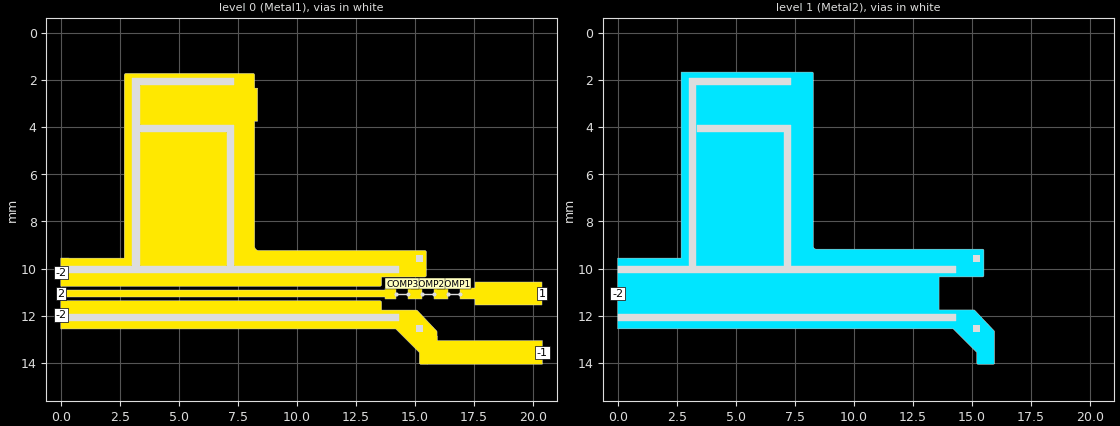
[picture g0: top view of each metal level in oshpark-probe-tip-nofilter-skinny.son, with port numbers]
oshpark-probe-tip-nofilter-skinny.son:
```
FTYP SONPROJ 18 ! Sonnet Project File
VER 17.56
HEADER
LIC antikernel2.1.50170 3cfdfeabd719 havequick azonenberg Level3Gold
DAT 02/22/2021 15:20:52
BUILT_BY_CREATED dxf 17.52.2 05/01/2020 05:35:06
BUILT_BY_SAVED sonnet 17.56
MDATE 02/22/2021 14:50:59
HDATE 02/22/2021 14:50:59
ANN Created by dxfgeo, Sonnet Software Inc.
END HEADER
DIM
ANG DEG
CAP PF
CON /OH
FREQ GHZ
IND NH
LNG MM
RES OH
END DIM
CONTROL
VARSWP
OPTIONS  -dj
SPEED 1
CACHE_ABS 1
Q_ACC N
END CONTROL
GEO
TMET "Free Space" 0 FREESPACE 376.7303136 0 0 0
BMET "Free Space" 0 FREESPACE 376.7303136 0 0 0
MET "Copper 1oz thick" 2 TMM 58000000 0.5 0.035 2
MET "Nickel " 3 TMM 14300000 0.5 3.5e-05 2
MET "Copper 0.5oz" 1 NOR 58000000 0.5 0.0175 
MET "Unknown_metal" 1 NOR INF 0.5 0 
MET "Unknown_metal" 1 VOL INF 0
BRI "Alumina (96%)" 0 9.4 0.0004 0 
BRI "Alumina (99.5%)" 0 9.9 0.0001 0 
BRI "Aluminum Nitride" 0 8.6 0.0003 0 
BRI "Arlon 25FR" 0 3.58 0.0035 0 
BRI "Arlon 25N" 0 3.38 0.0025 0 
BRI "Arlon AD5" 0 5.1 0.003 0 
BRI "Arlon AD10" 0 10.2 0.005 0 
BRI "Arlon AD250" 0 2.5 0.0018 0 
BRI "Arlon AD255A" 0 2.55 0.0015 0 
BRI "Arlon AD260A" 0 2.6 0.0018 0 
BRI "Arlon AD270" 0 2.7 0.0023 0 
BRI "Arlon AD300A" 0 3 0.002 0 
BRI "Arlon AD320A" 0 3.2 0.0032 0 
BRI "Arlon AD350A" 0 3.5 0.003 0 
BRI "Arlon AD410" 0 4.1 0.003 0 
BRI "Arlon AD430" 0 4.3 0.003 0 
BRI "Arlon AD450" 0 4.5 0.0035 0 
BRI "Arlon AD600" 0 6.15 0.003 0 
BRI "Arlon AD1000" 0 10.2 0.0023 0 
BRI "Arlon AR1000" 0 9.8 0.003 0 
BRI "Arlon CLTE" 0 2.96 0.0023 0 
BRI "Arlon CLTE-AT" 0 3 0.0013 0 
BRI "Arlon CLTE-P" 0 2.94 0.0025 0 
BRI "Arlon CLTE-XT" 0 2.94 0.0012 0 
BRI "Arlon Cu 217LX" 0 2.17 0.0009 0 
BRI "Arlon Cu 233LX" 0 2.33 0.0013 0 
BRI "Arlon Cu 250GT" 0 2.5 0.001 0 
BRI "Arlon Cu 250GX" 0 2.5 0.0018 0 
BRI "Arlon Cu 6250" 0 2.32 0.0013 0 
BRI "Arlon Cu 6700" 0 2.35 0.0025 0 
BRI "Arlon Di 522" 0 2.5 0.001 0 
BRI "Arlon Di 527" 0 2.5 0.0018 0 
BRI "Arlon Di 870" 0 2.33 0.0013 0 
BRI "Arlon Di 880" 0 2.17 0.0009 0 
BRI "Arlon Iso 917" 0 2.17 0.0013 0 
BRI "Arlon Iso 933" 0 2.33 0.0016 0 
BRI "Arlon Multi HF" 0 3.7 0.004 0 
BRI "Arlon TC350" 0 3.5 0.002 0 
BRI "Arlon TC600" 0 6.15 0.002 0 
BRI "Beryllia (99.5%)" 0 6.5 0.0004 0 
BRI "CEM-1" 0 4.5 0.02 0 
BRI "CEM-3" 0 4.5 0.02 0 
BRI "Dupont 9K7" 0 7.1 0.0012 0 
BRI "Dupont 943" 0 7.4 0.002 0 
BRI "Dupont 951" 0 7.8 0.006 0 
BRI "Dupont FEP" 0 2 0.0005 0 
BRI "Dupont Vacrel" 0 3.8 0.011 0 
BRI "ESL 41010" 0 7.5 0.005 0 
BRI "ESL 41020" 0 7.25 0.005 0 
BRI "ESL 41050" 0 13.5 0.002 0 
BRI "ESL 41060" 0 16.5 0.002 0 
BRI "ESL 41110" 0 4.5 0.004 0 
BRI "Ferro A6M" 0 5.9 0.002 0 
BRI "Ferro A6S" 0 5.9 0.002 0 
BRI "Ferro L8" 0 7.3 0.0018 0 
BRI "FR-4" 0 4.4 0.02 0 
BRI "G-10" 0 4.8 0.025 0 
BRI "Gallium Arsenide" 0 12.9 0.006 0 
BRI "Gallium Nitride" 0 9.7 0 0 
BRI "Glass (Pyrex)" 0 4.82 0.0054 0 
BRI "Heraeus HL2000" 0 7.3 0.0026 0 
BRI "Isola 370HR" 0 4.04 0.021 0 
BRI "Isola FR408" 0 3.77 0.0116 0 
BRI "Isola FR408HR" 0 3.68 0.0092 0 
BRI "Isola Getek" 0 3.6 0.01 0 
BRI "Isola GI-180" 0 3.7 0.013 0 
BRI "Isola IS415" 0 3.82 0.0125 0 
BRI "Isola IS620i" 0 3.58 0.006 0 
BRI "Isola IS680-280" 0 2.8 0.0025 0 
BRI "Isola IS680-300" 0 3 0.003 0 
BRI "Isola IS680-320" 0 3.2 0.003 0 
BRI "Isola IS680-333" 0 3.33 0.003 0 
BRI "Isola IS680-338" 0 3.38 0.0032 0 
BRI "Isola IS680-345" 0 3.45 0.0036 0 
BRI "Kerafol CT800" 0 5.3 0.008 0 
BRI "Nelco MW9350" 0 3.7 0.004 0 
BRI "Nelco N4000-12" 0 3.7 0.008 0 
BRI "Nelco N4000-13" 0 3.7 0.009 0 
BRI "Nelco N4000-13SI" 0 3.2 0.007 0 
BRI "Nelco N4000-13EP" 0 3.7 0.008 0 
BRI "Nelco N4350-13RF" 0 3.5 0.0065 0 
BRI "Nelco N4380-13RF" 0 3.8 0.007 0 
BRI "Nelco N9300-13RF" 0 3 0.004 0 
BRI "Nelco N9320-13RF" 0 3.2 0.0045 0 
BRI "Nelco N9338-13RF" 0 3.38 0.0046 0 
BRI "Nelco N9350-13RF" 0 3.48 0.0055 0 
BRI "Nelco NH9294" 0 2.94 0.0022 0 
BRI "Nelco NH9300" 0 3 0.0023 0 
BRI "Nelco NH9320" 0 3.2 0.0024 0 
BRI "Nelco NH9338" 0 3.38 0.0025 0 
BRI "Nelco NH9348" 0 3.48 0.003 0 
BRI "Nelco NH9350" 0 3.5 0.003 0 
BRI "Nelco NH9410" 0 4.1 0.003 0 
BRI "Nelco NH9450" 0 4.5 0.003 0 
BRI "Nelco NX9240" 0 2.4 0.0016 0 
BRI "Nelco NX9245" 0 2.45 0.0016 0 
BRI "Nelco NX9250" 0 2.5 0.0017 0 
BRI "Nelco NX9255" 0 2.55 0.0018 0 
BRI "Nelco NX9260" 0 2.6 0.0019 0 
BRI "Nelco NY9208" 0 2.08 0.0006 0 
BRI "Nelco NY9217" 0 2.17 0.0008 0 
BRI "Nelco NY9220" 0 2.2 0.0009 0 
BRI "Nelco NY9233" 0 2.33 0.0011 0 
BRI "PET" 0 3.37 0.0208 0 
BRI "Polyimide" 0 3.5 0.003 0 
BRI "Quartz (Fused)" 0 3.78 0.0001 0 
BRI "Rogers 3001" 0 2.28 0.003 0 
BRI "Rogers RO2808" 0 7.6 0.0015 0 
BRI "Rogers RO3003" 0 3 0.0013 0 
BRI "Rogers RO3006" 0 6.5 0.002 0 
BRI "Rogers RO3010" 0 11.2 0.0022 0 
BRI "Rogers RO3035" 0 3.6 0.0018 0 
BRI "Rogers RO3203" 0 3.02 0.0016 0 
BRI "Rogers RO3206" 0 6.6 0.0027 0 
BRI "Rogers RO3210" 0 10.8 0.0027 0 
BRI "Rogers RO3730" 0 3 0.0016 0 
BRI "Rogers RO4003C" 0 3.55 0.0029 0 
BRI "Rogers RO4533" 0 3.45 0.0029 0 
BRI "Rogers RO4534" 0 3.4 0.003 0 
BRI "Rogers RO4350B" 0 3.66 0.0037 0 
BRI "Rogers RO4350BTX" 0 3.66 0.0034 0 
BRI "Rogers RO4360" 0 6.15 0.0038 0 
BRI "Rogers RO4450B-3.6" 0 3.3 0.0043 0 
BRI "Rogers RO4450B-4" 0 3.54 0.004 0 
BRI "Rogers RO4450F" 0 3.52 0.0041 0 
BRI "Rogers RO4730" 0 3 0.0033 0 
BRI "Rogers RT5870" 0 2.33 0.0012 0 
BRI "Rogers RT5880" 0 2.2 0.0009 0 
BRI "Rogers RT5880LZ" 0 1.96 0.0019 0 
BRI "Rogers RT6002" 0 2.94 0.0012 0 
BRI "Rogers RT6006" 0 6.15 0.0027 0 
BRI "Rogers RT6010LM" 0 10.9 0.0023 0 
BRI "Rogers RT6035HTC" 0 3.6 0.0013 0 
BRI "Rogers RT6202" 0 2.94 0.0015 0 
BRI "Rogers RT6202PR" 0 2.95 0.0015 0 
BRI "Rogers Syron7000" 0 3.4 0.0045 0 
BRI "Rogers Syron7100-2" 0 3.61 0.006 0 
BRI "Rogers Syron7100-4" 0 3.39 0.005 0 
BRI "Rogers Theta" 0 4.01 0.0118 0 
BRI "Rogers TMM 3" 0 3.39 0.002 0 
BRI "Rogers TMM 4" 0 4.5 0.002 0 
BRI "Rogers TMM 6" 0 6 0.0023 0 
BRI "Rogers TMM 10" 0 9.56 0.0022 0 
BRI "Rogers TMM 10i" 0 9.96 0.002 0 
BRI "Rogers UL2000" 0 2.5 0.0019 0 
BRI "Rogers UL3850" 0 3.05 0.0025 0 
BRI "Rogers UL3908" 0 2.9 0.0025 0 
BRI "Rogers XT8000" 0 3.34 0.0035 0 
BRI "Rogers XT8100-2" 0 3.54 0.0049 0 
BRI "Rogers XT8100-4" 0 3.32 0.0038 0 
BRI "Silicon (intrinsic)" 0 11.9 0.004 0.00044 
BRI "Silicon Dioxide" 0 3.9 0 0 
BRI "Silicon Nitride" 0 7.5 0 0 
BRI "Taconic CER-10" 0 10 0.0035 0 
BRI "Taconic FastFilm" 0 2.7 0.0012 0 
BRI "Taconic Fastrise-DS" 0 2.96 0.0018 0 
BRI "Taconic Fastrise27" 0 2.7 0.0014 0 
BRI "Taconic Fastrise77" 0 7.7 0.0034 0 
BRI "Taconic FEP" 0 2 0.0003 0 
BRI "Taconic RF-30" 0 3 0.0014 0 
BRI "Taconic RF-35" 0 3.5 0.0018 0 
BRI "Taconic RF-35A2" 0 3.5 0.0011 0 
BRI "Taconic RF-35P" 0 3.5 0.0025 0 
BRI "Taconic RF-41" 0 4.1 0.0038 0 
BRI "Taconic RF-43" 0 4.3 0.0033 0 
BRI "Taconic RF-45" 0 4.5 0.0037 0 
BRI "Taconic RF-60A" 0 6.15 0.0038 0 
BRI "Taconic RF-301" 0 2.97 0.0012 0 
BRI "Taconic TacBond HT" 0 2.35 0.0025 0 
BRI "Taconic TLA-6" 0 2.62 0.0012 0 
BRI "Taconic TLC-27" 0 2.75 0.003 0 
BRI "Taconic TLC-30" 0 3 0.003 0 
BRI "Taconic TLC-32" 0 3.2 0.003 0 
BRI "Taconic TLE-95" 0 2.95 0.0028 0 
BRI "Taconic TLF-34" 0 3.4 0.002 0 
BRI "Taconic TLF-35" 0 3.5 0.002 0 
BRI "Taconic TLP-3" 0 2.33 0.0009 0 
BRI "Taconic TLP-5" 0 2.2 0.0009 0 
BRI "Taconic TLP-5A" 0 2.17 0.0009 0 
BRI "Taconic TLT-0" 0 2.45 0.0006 0 
BRI "Taconic TLT-9" 0 2.5 0.0006 0 
BRI "Taconic TLT-8" 0 2.55 0.0006 0 
BRI "Taconic TLT-7" 0 2.6 0.0006 0 
BRI "Taconic TLT-6" 0 2.65 0.0006 0 
BRI "Taconic TLX-0" 0 2.45 0.0019 0 
BRI "Taconic TLX-9" 0 2.5 0.0019 0 
BRI "Taconic TLX-8" 0 2.55 0.0019 0 
BRI "Taconic TLX-7" 0 2.6 0.0019 0 
BRI "Taconic TLX-6" 0 2.65 0.0019 0 
BRI "Taconic TLY-3" 0 2.33 0.0009 0 
BRI "Taconic TLY-3F" 0 2.33 0.0009 0 
BRI "Taconic TLY-5" 0 2.2 0.0009 0 
BRI "Taconic TLY-5-L" 0 2.2 0.0009 0 
BRI "Taconic TLY-5A" 0 2.17 0.0009 0 
BRI "Taconic TLY-5A-L" 0 2.17 0.0009 0 
BRI "Taconic TPG-30" 0 3 0.0038 0 
BRI "Taconic TPG-32" 0 3.2 0.005 0 
BRI "Taconic TPG-35" 0 3.5 0.005 0 
BRI "Taconic TRF-41" 0 4.1 0.0035 0 
BRI "Taconic TRF-43" 0 4.3 0.0035 0 
BRI "Taconic TRF-45" 0 4.5 0.0035 0 
BRI "Taconic TSM-DS" 0 2.85 0.001 0 
BRI "Taconic TSM-DS3" 0 3 0.0011 0 
BRI "Taconic TSM-26" 0 2.6 0.0014 0 
BRI "Taconic TSM-29" 0 2.94 0.0013 0 
BRI "Taconic TSM-30" 0 3 0.0013 0 
BRI "Teflon (PTFE)" 0 2.08 0.0004 0 
BOX 2 20.4 15 816 600 20 0
      1 1 1 0 0 0 0 "Air"
      0.166 3.6 1 0.0092 0 0 0 "Isola FR408HR"
      1 1 1 0 0 0 0 "Air"
TECHLAY METAL Metal1 BLACK -2 0 
0 0 0 N 2189 1 1 100 100 0 0 0 Y
END
END
TECHLAY VIA Via1 <UNSPECIFIED> -4 0 
VIA POLYGON
1 0 -1 N 2203 1 1 100 100 0 0 0 Y
TOLEVEL 0 RING NOCOVERS
END
END
TECHLAY METAL Metal2 BLACK -3 0 
1 0 2 N 2205 1 1 100 100 0 0 0 Y
END
END
DIM STD YDIR -1
POS 0.9273425921 -0.6310817607
NOM 1
REF1 POLY 2219 1
9
REF2 POLY 2219 1
0
END
LORGN 0 15 U 
POR1 BOX
POLY 1964 1
3
2 50 0 0 0 0 11.055 
POR1 BOX
POLY 1965 1
98
-2 50 0 0 0 0 10.15 
POR1 BOX
POLY 2219 1
9
1 50 0 0 0 20.391575 11.05 
POR1 BOX
POLY 2221 1
42
-2 50 0 0 0 0 11.9575 
POR1 BOX
POLY 2221 1
68
-1 50 0 0 0 20.4 13.55 
POR1 BOX
POLY 1966 1
85
-2 50 0 0 0 0 11.052 
SMD 0 "COMP1"
ID 1182
GNDREF AUTO
SBOX 16.536575 16.786575 10.93 11.18
PBSHW N
LPOS 16.661575 10.93
TYPE SPARAM 1
SMDP 0 16.911575 11.055 R 3 1 
EXSMDP
GNDREF AUTO
TERMW FEED
END EXSMDP
SMDP 0 16.411575 11.055 L 4 2 
EXSMDP
GNDREF AUTO
TERMW FEED
END EXSMDP
END
SMD 0 "COMP2"
ID 1187
GNDREF AUTO
SBOX 15.436575 15.686575 10.93 11.18
PBSHW N
LPOS 15.561575 10.93
TYPE SPARAM 1
SMDP 0 15.811575 11.055 R 5 1 
EXSMDP
GNDREF AUTO
TERMW FEED
END EXSMDP
SMDP 0 15.311575 11.055 L 6 2 
EXSMDP
GNDREF AUTO
TERMW FEED
END EXSMDP
END
SMD 0 "COMP3"
ID 1192
GNDREF AUTO
SBOX 14.336575 14.586575 10.93 11.18
PBSHW N
LPOS 14.461575 10.93
TYPE SPARAM 2
SMDP 0 14.711575 11.055 R 7 1 
EXSMDP
GNDREF AUTO
TERMW FEED
END EXSMDP
SMDP 0 14.211575 11.055 L 8 2 
EXSMDP
GNDREF AUTO
TERMW FEED
END EXSMDP
END
NUM 12
0 5 0 N 884 1 1 100 100 0 0 0 Y
TLAYNAM Metal1 INH
USER_DAT FromImport
16.411575 10.805
15.811575 10.805
15.811575 11.305
16.411575 11.305
16.411575 10.805
END
0 5 0 N 885 1 1 100 100 0 0 0 Y
TLAYNAM Metal1 INH
USER_DAT FromImport
15.311575 10.805
14.711575 10.805
14.711575 11.305
15.311575 11.305
15.311575 10.805
END
0 9 0 N 1964 1 1 100 100 0 0 0 Y
TLAYNAM Metal1 INH
USER_DAT FromImport
14.211575 10.805
13.711575 10.805
13.711575 10.9
0 10.9
0 11.21
13.711575 11.21
13.711575 11.305
14.211575 11.305
14.211575 10.805
END
0 102 0 N 1965 1 1 100 100 0 0 0 Y
TLAYNAM Metal1 INH
USER_DAT FromImport
13.529575 10.748
13.536575 10.746
13.543575 10.743
13.550575 10.739
13.556575 10.735
13.561575 10.731
13.567575 10.725
13.571575 10.72
13.575575 10.714
13.579575 10.707
13.582575 10.7
13.584575 10.693
13.586575 10.679
13.586575 10.356
13.58665192 10.35576923
13.58689758 10.35532258
13.58748409 10.355
15.415575 10.355
15.429575 10.353
15.436575 10.351
15.443575 10.348
15.450575 10.344
15.456575 10.34
15.461575 10.336
15.467575 10.33
15.471575 10.325
15.475575 10.319
15.479575 10.312
15.482575 10.305
15.484575 10.298
15.486575 10.284
15.486575 9.301
15.484575 9.287
15.482575 9.28
15.479575 9.273
15.475575 9.266
15.471575 9.26
15.467575 9.255
15.461575 9.249
15.456575 9.245
15.450575 9.241
15.443575 9.237
15.436575 9.234
15.429575 9.232
15.415575 9.23
8.394575 9.23
8.39224167 9.230333333
8.38695431 9.230862069
8.34933296 9.22683121
8.31656842 9.216516447
8.28553901 9.199760563
8.26508314 9.18263472
8.24151866 9.154488263
8.22473002 9.123398176
8.21431626 9.088251748
8.21074314 9.054902655
8.211575 9.047
8.211575 9.046
8.211575 3.755
8.336575 3.755
8.336575 2.355
8.211575 2.355
8.211575 1.809
8.211575 1.801
8.209575 1.787
8.207575 1.78
8.204575 1.773
8.200575 1.766
8.196575 1.76
8.192575 1.755
8.186575 1.749
8.181575 1.745
8.175575 1.741
8.168575 1.737
8.161575 1.734
8.154575 1.732
8.140575 1.73
2.757575 1.73
2.743575 1.732
2.736575 1.734
2.729575 1.737
2.722575 1.741
2.716575 1.745
2.711575 1.749
2.705575 1.755
2.701575 1.76
2.697575 1.766
2.693575 1.773
2.690575 1.78
2.688575 1.787
2.686575 1.801
2.686575 1.809
2.686575 9.554
2.68649808 9.554230769
2.68625242 9.554677419
2.68566591 9.555
0.35 9.555
0.35 9.55
0 9.55
0 10.75
13.515575 10.75
13.529575 10.748
END
0 11 0 N 2219 1 1 100 100 0 0 0 Y
TLAYNAM Metal1 INH
USER_DAT FromImport
20.391575 10.55
17.531575 10.55
17.531575 10.805
16.911575 10.805
16.911575 11.043
16.911575 11.067
16.911575 11.305
17.531575 11.305
17.531575 11.55
20.391575 11.55
20.391575 10.55
END
0 70 0 N 2221 1 1 100 100 0 0 0 Y
TLAYNAM Metal1 INH
USER_DAT FromImport
20.4 13.05
15.95 13.05
15.95 12.855
15.936575 12.855
15.936575 12.691
15.936575 12.676
15.935575 12.669
15.933575 12.662
15.927575 12.648
15.923575 12.642
15.918575 12.636
15.106575 11.776
15.10548409 11.77509091
15.104575 11.774
15.102575 11.77266667
15.100575 11.771
15.088575 11.763
15.087175 11.7624
15.086575 11.762
15.079575 11.759
15.072575 11.757
15.069575 11.75657143
15.067575 11.756
15.060575 11.755
13.587575 11.755
13.58734423 11.75492308
13.58689758 11.75467742
13.586575 11.75409091
13.586575 11.431
13.584575 11.417
13.582575 11.41
13.579575 11.403
13.575575 11.396
13.571575 11.39
13.567575 11.385
13.561575 11.379
13.556575 11.375
13.550575 11.371
13.543575 11.367
13.536575 11.364
13.529575 11.362
13.515575 11.36
0 11.36
0 12.555
14.185575 12.555
14.18580577 12.55507692
14.18689758 12.55567742
14.18890833 12.55733333
15.18324167 13.55166667
15.18625242 13.55532258
15.186575 13.55590909
15.186575 13.976
15.186575 13.984
15.188575 13.998
15.190575 14.005
15.193575 14.012
15.197575 14.019
15.201575 14.025
15.205575 14.03
15.211575 14.036
15.216575 14.04
15.222575 14.044
15.229575 14.048
15.236575 14.051
15.243575 14.053
15.257575 14.055
15.536575 14.055
15.536575 14.05
20.4 14.05
20.4 13.05
END
VIA POLYGON
1 5 -1 N 877 1 1 100 100 0 0 0 Y
TOLEVEL 0 RING NOCOVERS
TLAYNAM Via1 INH
USER_DAT FromImport
15.036575 12.705
15.036575 12.405
15.336575 12.405
15.336575 12.705
15.036575 12.705
END
VIA POLYGON
1 5 -1 N 876 1 1 100 100 0 0 0 Y
TOLEVEL 0 RING NOCOVERS
TLAYNAM Via1 INH
USER_DAT FromImport
15.036575 9.705
15.036575 9.405
15.336575 9.405
15.336575 9.705
15.036575 9.705
END
VIA POLYGON
1 8 -1 N 1717 1 1 100 100 0 0 0 Y
TOLEVEL 0 RING NOCOVERS
TLAYNAM Via1 INH
USER_DAT FromImport
3.336575 2.205
7.336575 2.205
7.336575 1.905
3.036575 1.905
3.036575 2.2
3.036575 9.9
3.336575 9.9
3.336575 2.205
END
VIA POLYGON
1 11 -1 N 1967 1 1 100 100 0 0 0 Y
TOLEVEL 0 RING NOCOVERS
TLAYNAM Via1 INH
USER_DAT FromImport
14.336575 9.905
7.336575 9.905
7.336575 3.905
3.35 3.905
3.35 4.205
7.036575 4.205
7.036575 9.905
0 9.905
0 10.205
14.336575 10.205
14.336575 9.905
END
VIA POLYGON
1 5 -1 N 1968 1 1 100 100 0 0 0 Y
TOLEVEL 0 RING NOCOVERS
TLAYNAM Via1 INH
USER_DAT FromImport
14.336575 11.905
0 11.905
0 12.205
14.336575 12.205
14.336575 11.905
END
1 105 2 N 1966 1 1 100 100 0 0 0 Y
TLAYNAM Metal2 INH
15.92449799 14.04900055
15.92950287 14.04699974
15.93350067 14.04500084
15.93849792 14.04300003
15.94650116 14.03699951
15.94949951 14.03399925
15.95549622 14.02599983
15.95750275 14.02200012
15.95750275 14.02100067
15.95950165 14.01699905
15.96150055 14.01199989
15.9625 14.00700073
15.9625 12.66300087
15.96150055 12.6579998
15.95950165 12.65300064
15.95750275 12.64900093
15.95549622 12.64399986
15.95349731 12.64199905
15.95349731 12.6409996
15.95049896 12.63699989
15.94650116 12.63300018
15.13149872 11.77100067
15.13149872 11.76999931
15.12850037 11.7659996
15.11649933 11.75700073
15.11549988 11.75700073
15.11350098 11.75499992
15.10850372 11.75299911
15.10649719 11.75299911
15.10449829 11.75199966
15.10349884 11.75100021
15.09850159 11.75000076
13.61250153 11.75000076
13.61250153 10.3510006
13.61350098 10.34999924
15.46950378 10.34999924
15.47450104 10.34899979
15.47949829 10.34700089
15.48350372 10.34500008
15.48850098 10.34299927
15.49649658 10.33700066
15.49950256 10.3340004
15.50549927 10.32599907
15.50749817 10.32099991
15.50949707 10.3170002
15.5115036 10.31199913
15.51250305 10.30699997
15.51250305 9.21799927
15.51049652 9.20800095
15.50849762 9.20399933
15.50549927 9.19900017
15.50350037 9.19500046
15.50050201 9.19100075
15.49950256 9.19100075
15.49649658 9.18800049
15.48850098 9.18199997
15.48450317 9.17999916
15.47949829 9.17800026
15.47550049 9.17599945
15.47050323 9.175
8.4134964 9.175
8.3885025 9.17299919
8.36050262 9.16400032
8.35749664 9.16300087
8.34450378 9.1560009
8.32150116 9.13699989
8.31249847 9.12600021
8.31149902 9.12299995
8.29749908 9.09800034
8.2884964 9.07099991
8.28749695 9.05099945
8.28749695 1.718000221
8.2864975 1.713000107
8.2844986 1.707999992
8.28249969 1.704000282
8.28050079 1.699000168
8.27449646 1.690999794
8.27149811 1.687999535
8.2635025 1.681999969
8.25849762 1.680000114
8.25449982 1.678000259
8.24950256 1.676000404
8.24449768 1.675
2.686575 1.675
2.686575 9.554
0 9.554
0 12.55
14.21150055 12.55
14.21150055 12.55099945
15.21150055 13.55099945
15.2125 13.55099945
15.2125 14.00700073
15.21349945 14.01199989
15.21549835 14.01699905
15.21749725 14.02100067
15.21950378 14.02599983
15.22550049 14.03399925
15.22849884 14.03699951
15.23650208 14.04300003
15.24149933 14.04500084
15.24549713 14.04699974
15.25050201 14.04900055
15.25549927 14.05
15.91950073 14.05
15.92449799 14.04900055
END
END GEO
OPT
MAX 100
END OPT
VARSWP
ENABLED Y
FREQ Y AY ABS_ENTRY 0.1 10.0 -1 300 
END
END VARSWP
3DOPTIONS
GLOBAL 5
ALL 3 1
END 3DOPTIONS
SMDFILES
1 "../../../../../../../bulk/datasheets/Vishay/Resistors/FC/0402/FC0402-FlipChip-200 Ohm.s2p"
2 "../../../../../../../bulk/datasheets/Vishay/Resistors/FC/0402/FC0402-FlipChip-50 Ohm.s2p"
END SMDFILES
```
